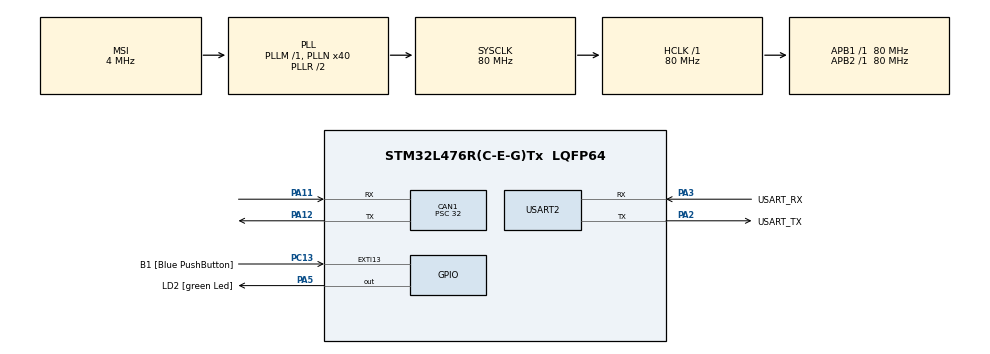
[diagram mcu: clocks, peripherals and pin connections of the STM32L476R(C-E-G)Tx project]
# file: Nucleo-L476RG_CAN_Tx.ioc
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CAN1.BS1=CAN_BS1_2TQ
CAN1.BS2=CAN_BS2_2TQ
CAN1.CalculateBaudRate=500000
CAN1.CalculateTimeBit=2000
CAN1.CalculateTimeQuantum=400.0
CAN1.Prescaler=32
Mcu.Family=STM32L4
Mcu.Name=STM32L476R(C-E-G)Tx
Mcu.Package=LQFP64
NVIC.CAN1_RX0_IRQn=true\:0\:0\:false\:false\:true\:true\:true\:true
NVIC.EXTI15_10_IRQn=true\:0\:0\:false\:false\:true\:true\:true\:true
NVIC.PriorityGroup=NVIC_PRIORITYGROUP_4
PA11.Mode=CAN_Activate
PA11.Signal=CAN1_RX
PA12.Mode=CAN_Activate
PA12.Signal=CAN1_TX
PA13\ (JTMS-SWDIO).GPIO_Label=TMS
PA13\ (JTMS-SWDIO).Mode=Serial_Wire
PA13\ (JTMS-SWDIO).Signal=SYS_JTMS-SWDIO
PA14\ (JTCK-SWCLK).GPIO_Label=TCK
PA14\ (JTCK-SWCLK).Mode=Serial_Wire
PA14\ (JTCK-SWCLK).Signal=SYS_JTCK-SWCLK
PA2.GPIO_Label=USART_TX
PA2.GPIO_Mode=GPIO_MODE_AF_PP
PA2.GPIO_PuPd=GPIO_NOPULL
PA2.GPIO_Speed=GPIO_SPEED_FREQ_VERY_HIGH
PA2.Mode=Asynchronous
PA2.Signal=USART2_TX
PA3.GPIO_Label=USART_RX
PA3.GPIO_Mode=GPIO_MODE_AF_PP
PA3.GPIO_PuPd=GPIO_NOPULL
PA3.GPIO_Speed=GPIO_SPEED_FREQ_VERY_HIGH
PA3.Mode=Asynchronous
PA3.Signal=USART2_RX
PA5.GPIO_Label=LD2 [green Led]
PA5.GPIO_ModeDefaultOutputPP=GPIO_MODE_OUTPUT_PP
PA5.GPIO_PuPd=GPIO_NOPULL
PA5.GPIO_Speed=GPIO_SPEED_FREQ_LOW
PA5.Signal=GPIO_Output
PB3\ (JTDO-TRACESWO).GPIO_Label=SWO
PB3\ (JTDO-TRACESWO).Signal=SYS_JTDO-SWO
PC13.GPIO_Label=B1 [Blue PushButton]
PC13.GPIO_ModeDefaultEXTI=GPIO_MODE_IT_FALLING
PC13.GPIO_PuPd=GPIO_NOPULL
PC13.Signal=GPXTI13
PC14-OSC32_IN\ (PC14).Mode=LSE-External-Oscillator
PC14-OSC32_IN\ (PC14).Signal=RCC_OSC32_IN
PC15-OSC32_OUT\ (PC15).Mode=LSE-External-Oscillator
PC15-OSC32_OUT\ (PC15).Signal=RCC_OSC32_OUT
PH0-OSC_IN\ (PH0).Signal=RCC_OSC_IN
PH1-OSC_OUT\ (PH1).Signal=RCC_OSC_OUT
ProjectManager.HeapSize=0x200
ProjectManager.StackSize=0x400
ProjectManager.TargetToolchain=STM32CubeIDE
RCC.ADCFreq_Value=16000000
RCC.AHBFreq_Value=80000000
RCC.APB1Freq_Value=80000000
RCC.APB1TimFreq_Value=80000000
RCC.APB2Freq_Value=80000000
RCC.APB2TimFreq_Value=80000000
RCC.CortexFreq_Value=80000000
RCC.HCLKFreq_Value=80000000
RCC.HSE_VALUE=8000000
RCC.HSI_VALUE=16000000
RCC.MSI_VALUE=4000000
RCC.PLLN=40
RCC.PREFETCH_ENABLE=1
RCC.SYSCLKFreq_VALUE=80000000
RCC.SYSCLKSource=RCC_SYSCLKSOURCE_PLLCLK
RCC.USBFreq_Value=16000000
RCC.VCOOutputFreq_Value=160000000
USART2.VirtualMode-Asynchronous=VM_ASYNC
board=NUCLEO-L476RG

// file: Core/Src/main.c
/* USER CODE BEGIN Header */
/**
  ******************************************************************************
  * @file           : main.c
  * @brief          : Main program body
  ******************************************************************************
  * @attention
  *
  * Copyright (c) 2024 STMicroelectronics.
  * All rights reserved.
  *
  * This software is licensed under terms that can be found in the LICENSE file
  * in the root directory of this software component.
  * If no LICENSE file comes with this software, it is provided AS-IS.
  *
  ******************************************************************************
  */
/* USER CODE END Header */
#include "main.h"

CAN_HandleTypeDef hcan1;

UART_HandleTypeDef huart2;

void SystemClock_Config(void);
static void MX_GPIO_Init(void);
static void MX_USART2_UART_Init(void);
static void MX_CAN1_Init(void);

/* USER CODE BEGIN 0 */

CAN_TxHeaderTypeDef TxHeader;
CAN_RxHeaderTypeDef RxHeader;

uint8_t TxData[8];
uint8_t RxData[8];

uint32_t TxMailbox;

int datacheck = 0;

void HAL_GPIO_EXTI_Callback(uint16_t GPIO_Pin){
	if (GPIO_Pin == GPIO_PIN_13){
		TxData[0] = 100; // ms Delay
		TxData[1] = 40;  // loop rep

		HAL_CAN_AddTxMessage(&hcan1, &TxHeader, TxData, &TxMailbox);
	}
}

void HAL_CAN_RxFifo0MsgPendingCallback(CAN_HandleTypeDef *hcan){
	HAL_CAN_GetRxMessage(hcan, CAN_RX_FIFO0, &RxHeader, RxData);
	if (RxHeader.DLC == 2){
		datacheck = 1;
	}
}

/* USER CODE END 0 */

int main(void)
{

  /* MCU Configuration--------------------------------------------------------*/

  /* Reset of all peripherals, Initializes the Flash interface and the Systick. */
  HAL_Init();

  /* Configure the system clock */
  SystemClock_Config();

  /* Initialize all configured peripherals */
  MX_GPIO_Init();
  MX_USART2_UART_Init();
  MX_CAN1_Init();
  /* USER CODE BEGIN 2 */

  HAL_CAN_Start(&hcan1);

  // Activate the notification
  HAL_CAN_ActivateNotification(&hcan1, CAN_IT_RX_FIFO0_MSG_PENDING);

  TxHeader.DLC = 2; // data length
  TxHeader.IDE = CAN_ID_STD;
  TxHeader.RTR = CAN_RTR_DATA;
  TxHeader.StdId = 0x446; // ID

  TxData[0] = 200; // ms Delay
  TxData[1] = 20;  // loop rep

  // Initializing
  HAL_GPIO_WritePin(GPIOA, GPIO_PIN_5, 1);
  HAL_Delay(1000);
  HAL_GPIO_WritePin(GPIOA, GPIO_PIN_5, 0);

  /* USER CODE END 2 */

  /* Infinite loop */
  while (1)
  {

    /* USER CODE BEGIN 3 */

	  HAL_Delay(1000);

	  if (datacheck){
		  // blink the LED
		  for (int i = 0; i<RxData[1]; i++){
//			  HAL_GPIO_WritePin(GPIOA, GPIO_PIN_5, 1);
			  HAL_GPIO_TogglePin(GPIOA, GPIO_PIN_5);
			  HAL_Delay(RxData[0]);
//			  HAL_GPIO_WritePin(GPIOA, GPIO_PIN_5, 0);
		  }

		  datacheck = 0;

		  HAL_CAN_AddTxMessage(&hcan1, &TxHeader, TxData, &TxMailbox);
	  }

  }
  /* USER CODE END 3 */
}

void SystemClock_Config(void)
{
  RCC_OscInitTypeDef RCC_OscInitStruct = {0};
  RCC_ClkInitTypeDef RCC_ClkInitStruct = {0};

  /** Configure the main internal regulator output voltage
  */
  if (HAL_PWREx_ControlVoltageScaling(PWR_REGULATOR_VOLTAGE_SCALE1) != HAL_OK)
  {
    Error_Handler();
  }

  /** Configure LSE Drive Capability
  */
  HAL_PWR_EnableBkUpAccess();
  __HAL_RCC_LSEDRIVE_CONFIG(RCC_LSEDRIVE_LOW);

  /** Initializes the RCC Oscillators according to the specified parameters
  * in the RCC_OscInitTypeDef structure.
  */
  RCC_OscInitStruct.OscillatorType = RCC_OSCILLATORTYPE_LSE|RCC_OSCILLATORTYPE_MSI;
  RCC_OscInitStruct.LSEState = RCC_LSE_ON;
  RCC_OscInitStruct.MSIState = RCC_MSI_ON;
  RCC_OscInitStruct.MSICalibrationValue = 0;
  RCC_OscInitStruct.MSIClockRange = RCC_MSIRANGE_6;
  RCC_OscInitStruct.PLL.PLLState = RCC_PLL_ON;
  RCC_OscInitStruct.PLL.PLLSource = RCC_PLLSOURCE_MSI;
  RCC_OscInitStruct.PLL.PLLM = 1;
  RCC_OscInitStruct.PLL.PLLN = 40;
  RCC_OscInitStruct.PLL.PLLP = RCC_PLLP_DIV7;
  RCC_OscInitStruct.PLL.PLLQ = RCC_PLLQ_DIV2;
  RCC_OscInitStruct.PLL.PLLR = RCC_PLLR_DIV2;
  if (HAL_RCC_OscConfig(&RCC_OscInitStruct) != HAL_OK)
  {
    Error_Handler();
  }

  /** Initializes the CPU, AHB and APB buses clocks
  */
  RCC_ClkInitStruct.ClockType = RCC_CLOCKTYPE_HCLK|RCC_CLOCKTYPE_SYSCLK
                              |RCC_CLOCKTYPE_PCLK1|RCC_CLOCKTYPE_PCLK2;
  RCC_ClkInitStruct.SYSCLKSource = RCC_SYSCLKSOURCE_PLLCLK;
  RCC_ClkInitStruct.AHBCLKDivider = RCC_SYSCLK_DIV1;
  RCC_ClkInitStruct.APB1CLKDivider = RCC_HCLK_DIV1;
  RCC_ClkInitStruct.APB2CLKDivider = RCC_HCLK_DIV1;

  if (HAL_RCC_ClockConfig(&RCC_ClkInitStruct, FLASH_LATENCY_4) != HAL_OK)
  {
    Error_Handler();
  }

  /** Enable MSI Auto calibration
  */
  HAL_RCCEx_EnableMSIPLLMode();
}

static void MX_CAN1_Init(void)
{

  hcan1.Instance = CAN1;
  hcan1.Init.Prescaler = 32;
  hcan1.Init.Mode = CAN_MODE_NORMAL;
  hcan1.Init.SyncJumpWidth = CAN_SJW_1TQ;
  hcan1.Init.TimeSeg1 = CAN_BS1_2TQ;
  hcan1.Init.TimeSeg2 = CAN_BS2_2TQ;
  hcan1.Init.TimeTriggeredMode = DISABLE;
  hcan1.Init.AutoBusOff = DISABLE;
  hcan1.Init.AutoWakeUp = DISABLE;
  hcan1.Init.AutoRetransmission = DISABLE;
  hcan1.Init.ReceiveFifoLocked = DISABLE;
  hcan1.Init.TransmitFifoPriority = DISABLE;
  if (HAL_CAN_Init(&hcan1) != HAL_OK)
  {
    Error_Handler();
  }
  /* USER CODE BEGIN CAN1_Init 2 */

  CAN_FilterTypeDef canfilterconfig;

  canfilterconfig.FilterActivation = CAN_FILTER_ENABLE;
  canfilterconfig.FilterBank = 18;  // which filter bank to use from the assigned ones
  canfilterconfig.FilterFIFOAssignment = CAN_FILTER_FIFO0;
  canfilterconfig.FilterIdHigh = 0x103<<5; // ID of external ECU
  canfilterconfig.FilterIdLow = 0;
  canfilterconfig.FilterMaskIdHigh = 0x103<<5;
  canfilterconfig.FilterMaskIdLow = 0x0000;
  canfilterconfig.FilterMode = CAN_FILTERMODE_IDMASK;
  canfilterconfig.FilterScale = CAN_FILTERSCALE_32BIT;
  canfilterconfig.SlaveStartFilterBank = 20;  // how many filters to assign to the CAN1 (master can)

  HAL_CAN_ConfigFilter(&hcan1, &canfilterconfig);

  /* USER CODE END CAN1_Init 2 */

}

static void MX_USART2_UART_Init(void)
{

  /* USER CODE BEGIN USART2_Init 0 */
//
  /* USER CODE END USART2_Init 0 */

  /* USER CODE BEGIN USART2_Init 1 */
//
  /* USER CODE END USART2_Init 1 */
  huart2.Instance = USART2;
  huart2.Init.BaudRate = 115200;
  huart2.Init.WordLength = UART_WORDLENGTH_8B;
  huart2.Init.StopBits = UART_STOPBITS_1;
  huart2.Init.Parity = UART_PARITY_NONE;
  huart2.Init.Mode = UART_MODE_TX_RX;
  huart2.Init.HwFlowCtl = UART_HWCONTROL_NONE;
  huart2.Init.OverSampling = UART_OVERSAMPLING_16;
  huart2.Init.OneBitSampling = UART_ONE_BIT_SAMPLE_DISABLE;
  huart2.AdvancedInit.AdvFeatureInit = UART_ADVFEATURE_NO_INIT;
  if (HAL_UART_Init(&huart2) != HAL_OK)
  {
    Error_Handler();
  }
  /* USER CODE BEGIN USART2_Init 2 */
//
  /* USER CODE END USART2_Init 2 */

}

static void MX_GPIO_Init(void)
{
  GPIO_InitTypeDef GPIO_InitStruct = {0};

  /* GPIO Ports Clock Enable */
  __HAL_RCC_GPIOC_CLK_ENABLE();
  __HAL_RCC_GPIOH_CLK_ENABLE();
  __HAL_RCC_GPIOA_CLK_ENABLE();
  __HAL_RCC_GPIOB_CLK_ENABLE();

  /*Configure GPIO pin Output Level */
  HAL_GPIO_WritePin(LD2_GPIO_Port, LD2_Pin, GPIO_PIN_RESET);

  /*Configure GPIO pin : B1_Pin */
  GPIO_InitStruct.Pin = B1_Pin;
  GPIO_InitStruct.Mode = GPIO_MODE_IT_FALLING;
  GPIO_InitStruct.Pull = GPIO_NOPULL;
  HAL_GPIO_Init(B1_GPIO_Port, &GPIO_InitStruct);

  /*Configure GPIO pin : LD2_Pin */
  GPIO_InitStruct.Pin = LD2_Pin;
  GPIO_InitStruct.Mode = GPIO_MODE_OUTPUT_PP;
  GPIO_InitStruct.Pull = GPIO_NOPULL;
  GPIO_InitStruct.Speed = GPIO_SPEED_FREQ_LOW;
  HAL_GPIO_Init(LD2_GPIO_Port, &GPIO_InitStruct);

  /* EXTI interrupt init*/
  HAL_NVIC_SetPriority(EXTI15_10_IRQn, 0, 0);
  HAL_NVIC_EnableIRQ(EXTI15_10_IRQn);

}

void Error_Handler(void)
{
  __disable_irq();
  while (1)
  {
  }
}
